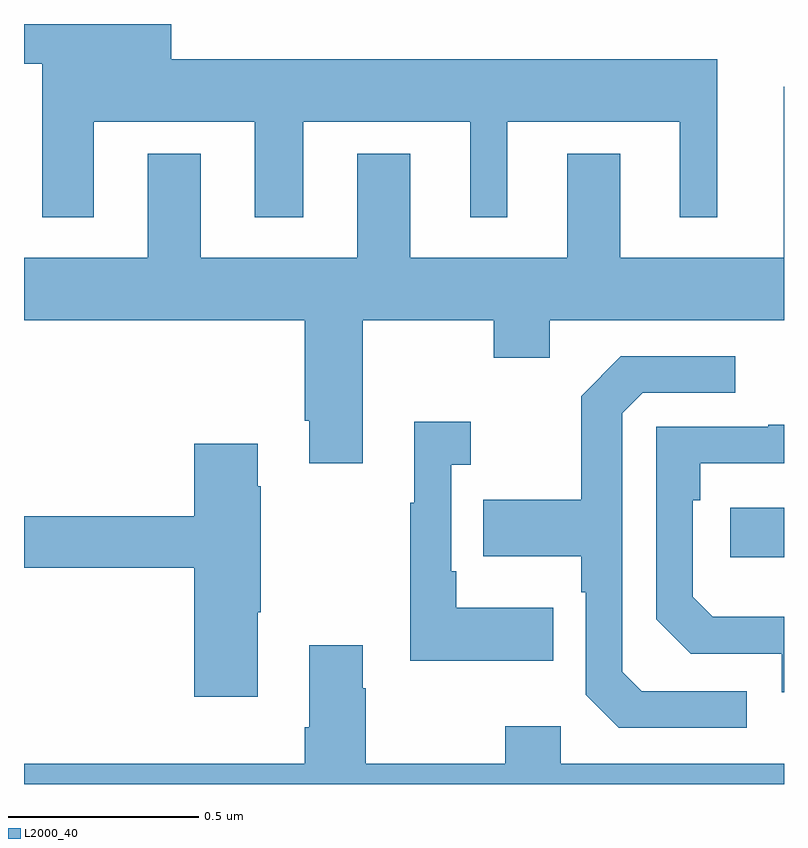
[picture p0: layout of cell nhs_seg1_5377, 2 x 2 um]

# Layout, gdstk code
import gdstk
lib = gdstk.Library(unit=1e-6, precision=1e-09)
def R(c, l, rs):  # rectangles x0, y0, x1, y1
    for r in rs: c.add(gdstk.rectangle(r[:2], r[2:], *l))
def P(c, l, *ps):  # polygons
    for p in ps: c.add(gdstk.Polygon(p, *l))
L2000_40 = (2000, 40)

nhs_seg1_5377 = lib.new_cell('nhs_seg1_5377')
R(nhs_seg1_5377, L2000_40, [(179.859,529.796,180,529.926)])
P(nhs_seg1_5377, L2000_40, [(178.183,530.942),(178.607,530.942),(178.607,530.691),(178.735,530.691),(178.735,530.942),(179.174,530.942),(179.174,530.691),(179.272,530.691),(179.272,530.942),(179.726,530.942),(179.726,530.691),(179.824,530.691),(179.824,531.106),(178.387,531.106),(178.387,531.199),(178,531.199),(178,531.095),(178.048,531.095),(178.048,530.691),(178.183,530.691)],
  [(178.465,530.857),(178.325,530.857),(178.325,530.584),(178,530.584),(178,530.42),(178.739,530.42),(178.739,530.155),(178.751,530.155),(178.751,530.043),(178.891,530.043),(178.891,530.42),(179.236,530.42),(179.236,530.321),(179.383,530.321),(179.383,530.42),(180,530.42),(180,531.034),(179.999,531.034),(179.999,530.584),(179.569,530.584),(179.569,530.857),(179.429,530.857),(179.429,530.584),(179.017,530.584),(179.017,530.857),(178.877,530.857),(178.877,530.584),(178.465,530.584)],
  [(179.902,529.443),(179.625,529.443),(179.574,529.494),(179.574,530.175),(179.628,530.229),(179.872,530.229),(179.872,530.325),(179.571,530.325),(179.466,530.219),(179.466,529.947),(179.209,529.947),(179.209,529.799),(179.466,529.799),(179.466,529.703),(179.478,529.703),(179.478,529.434),(179.565,529.347),(179.902,529.347)],
  [(179.393,529.663),(179.137,529.663),(179.137,529.759),(179.124,529.759),(179.124,530.039),(179.176,530.039),(179.176,530.152),(179.027,530.152),(179.027,529.939),(179.016,529.939),(179.016,529.523),(179.393,529.523)],
  [(180,529.639),(179.813,529.639),(179.76,529.692),(179.76,529.946),(179.78,529.946),(179.78,530.043),(180,530.043),(180,530.144),(179.959,530.144),(179.959,530.139),(179.664,530.139),(179.664,529.632),(179.754,529.542),(179.994,529.542),(179.994,529.44),(180,529.44)],
  [(178.615,529.651),(178.623,529.651),(178.623,529.982),(178.615,529.982),(178.615,530.095),(178.448,530.095),(178.448,529.904),(178,529.904),(178,529.768),(178.448,529.768),(178.448,529.428),(178.615,529.428)],
  [(180,529.252),(179.412,529.252),(179.412,529.351),(179.266,529.351),(179.266,529.252),(178.899,529.252),(178.899,529.451),(178.891,529.451),(178.891,529.564),(178.751,529.564),(178.751,529.348),(178.739,529.348),(178.739,529.252),(178,529.252),(178,529.199),(180,529.199)])

lib.write_gds('nhs_seg1_5377.gds')
